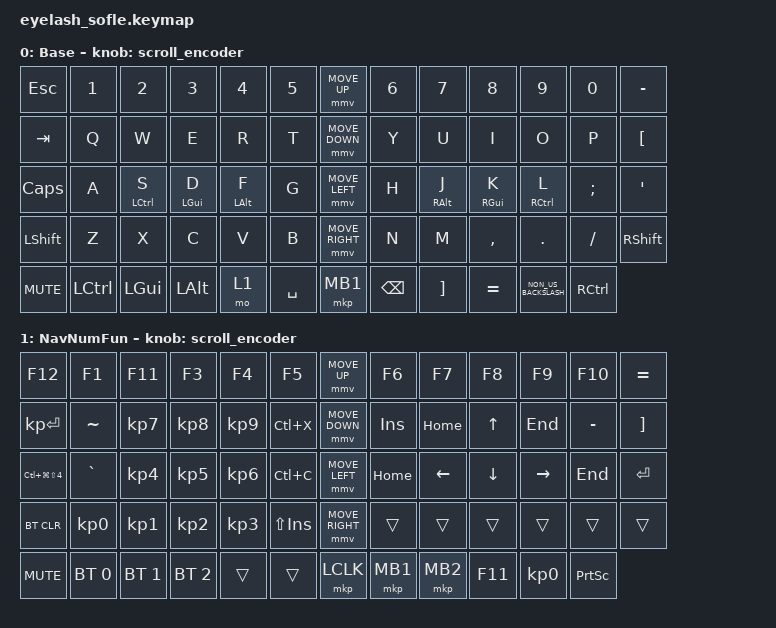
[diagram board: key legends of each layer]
#define ZMK_POINTING_DEFAULT_MOVE_VAL 1200  // 600
#define ZMK_POINTING_DEFAULT_SCRL_VAL 25   // 10

#include <input/processors.dtsi>
#include <zephyr/dt-bindings/input/input-event-codes.h>
#include <behaviors.dtsi>
#include <dt-bindings/zmk/bt.h>
#include <dt-bindings/zmk/keys.h>
#include <dt-bindings/zmk/pointing.h>

&mmv_input_listener { input-processors = <&zip_xy_scaler 2 1>; };

&msc_input_listener { input-processors = <&zip_scroll_scaler 2 1>; };

&msc {
    acceleration-exponent = <1>;      // 0
    time-to-max-speed-ms = <100>;       // 300
    delay-ms = <0>;                   // 0
};

&mmv {
    time-to-max-speed-ms = <500>;
    acceleration-exponent = <1>;
    trigger-period-ms = <16>;
};

&gresc { mods = <(MOD_LALT|MOD_LCTL)>; };

&mt {
    tapping-term-ms = <250>;
    flavor = "tap-preferred";
};

/ {
    scroll_encoder: scroll_encoder {
        compatible = "zmk,behavior-sensor-rotate";
        #sensor-binding-cells = <0>;
        bindings = <&msc SCRL_DOWN>, <&msc SCRL_UP>;

        tap-ms = <100>;
    };

    combos {
        compatible = "zmk,combos";

        next-word {
            bindings = <&kp LC(RIGHT)>;
            key-positions = <49 50>;
        };

        prev-word {
            bindings = <&kp LC(LEFT)>;
            key-positions = <47 48>;
        };

        enter {
            bindings = <&kp ENTER>;
            key-positions = <34 35 36>;
        };

        delete {
            bindings = <&none>;
            key-positions = <11 12>;
        };
    };

    behaviors {
    };

    keymap {
        compatible = "zmk,keymap";

        layer_0 {
            bindings = <
&kp ESC     &kp NUMBER_1  &kp NUMBER_2        &kp NUMBER_3    &kp NUMBER_4    &kp N5       &mmv MOVE_UP     &kp NUMBER_6   &kp N7             &kp N8           &kp N9                &kp N0             &kp MINUS
&kp TAB     &kp Q         &kp W               &kp E           &kp R           &kp T        &mmv MOVE_DOWN   &kp Y          &kp U              &kp I            &kp O                 &kp P              &kp LEFT_BRACKET
&kp CAPS    &kp A         &mt LEFT_CONTROL S  &mt LEFT_GUI D  &mt LEFT_ALT F  &kp G        &mmv MOVE_LEFT   &kp H          &mt RIGHT_ALT J    &mt RIGHT_GUI K  &mt RIGHT_CONTROL L   &kp SEMICOLON      &kp SINGLE_QUOTE
&kp LSHFT   &kp Z         &kp X               &kp C           &kp V           &kp B        &mmv MOVE_RIGHT  &kp N          &kp M              &kp COMMA        &kp PERIOD            &kp SLASH          &kp RIGHT_SHIFT
&kp C_MUTE  &kp LCTRL     &kp LEFT_GUI        &kp LEFT_ALT    &mo 1           &kp SPACE    &mkp MB1         &kp BACKSPACE  &kp RIGHT_BRACKET  &kp EQUAL        &kp NON_US_BACKSLASH  &kp RIGHT_CONTROL
            >;

            sensor-bindings = <&scroll_encoder>;
            display-name = "Base";
        };

        nav_num_fun {
            bindings = <
&kp F12                   &kp F1           &kp F11          &kp F3           &kp F4           &kp F5         &mmv MOVE_UP     &kp F6    &kp F7    &kp F8    &kp F9           &kp F10          &kp EQUAL
&kp KP_ENTER              &kp TILDE        &kp KP_NUMBER_7  &kp KP_NUMBER_8  &kp KP_NUMBER_9  &kp LC(X)      &mmv MOVE_DOWN   &kp INS   &kp HOME  &kp UP    &kp END          &kp MINUS        &kp RIGHT_BRACKET
&kp LC(LG(LS(NUMBER_4)))  &kp GRAVE        &kp KP_NUMBER_4  &kp KP_NUMBER_5  &kp KP_NUMBER_6  &kp LC(C)      &mmv MOVE_LEFT   &kp HOME  &kp LEFT  &kp DOWN  &kp RIGHT        &kp END          &kp ENTER
&bt BT_CLR                &kp KP_NUMBER_0  &kp KP_NUMBER_1  &kp KP_NUMBER_2  &kp KP_NUMBER_3  &kp LS(INS)    &mmv MOVE_RIGHT  &trans    &trans    &trans    &trans           &trans           &trans
&kp C_MUTE                &bt BT_SEL 0     &bt BT_SEL 1     &bt BT_SEL 2     &trans           &trans         &mkp LCLK        &mkp MB1  &mkp MB2  &kp F11   &kp KP_NUMBER_0  &kp PRINTSCREEN
            >;

            display-name = "NavNumFun";
            sensor-bindings = <&scroll_encoder>;
        };
    };

    conditional_layers { compatible = "zmk,conditional-layers"; };
};
